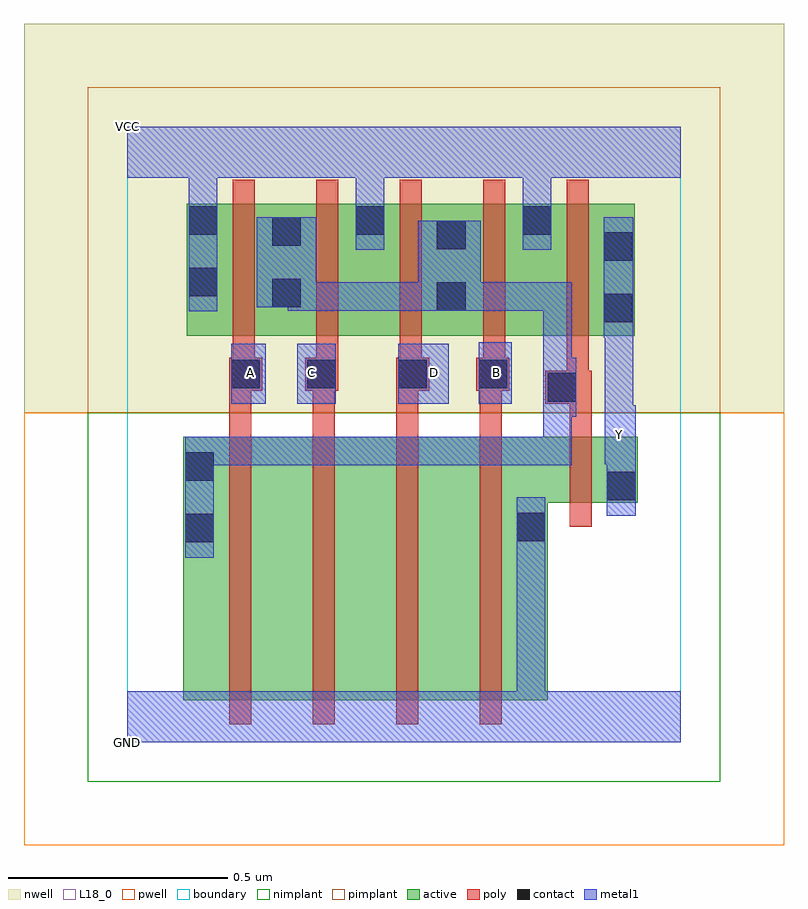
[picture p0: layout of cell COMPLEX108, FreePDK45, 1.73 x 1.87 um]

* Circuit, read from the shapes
.subckt COMPLEX108 A B C D GND VCC Y
M1 n1 A n2 VSUBS nfet w=0.6u l=0.05u
M2 n3 C n1 VSUBS nfet w=0.6u l=0.05u
M3 n4 D n3 VSUBS nfet w=0.6u l=0.05u
M4 GND B n4 VSUBS nfet w=0.6u l=0.05u
M5 Y n2 GND VSUBS nfet w=0.15u l=0.05u
M6 n2 A VCC n5 pfet w=0.3u l=0.05u
M7 VCC C n2 n5 pfet w=0.3u l=0.05u
M8 n2 D VCC n5 pfet w=0.3u l=0.05u
M9 VCC B n2 n5 pfet w=0.3u l=0.05u
M10 Y n2 VCC n5 pfet w=0.3u l=0.05u
.ends

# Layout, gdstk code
import gdstk
lib = gdstk.Library(unit=1e-6, precision=1e-09)
def R(c, l, rs):  # rectangles x0, y0, x1, y1
    for r in rs: c.add(gdstk.rectangle(r[:2], r[2:], *l))
def A(c, l, x, y, w, h, nx, ny, dx, dy):  # array of equal rectangles
    R(c, l, [(x+i*dx, y+j*dy, x+i*dx+w, y+j*dy+h) for i in range(nx) for j in range(ny)])
active = (1, 0)
pwell = (2, 0)
nwell = (3, 0)
nimplant = (4, 0)
pimplant = (5, 0)
poly = (9, 0)
contact = (10, 0)
metal1 = (11, 0)
L18_0 = (18, 0)
boundary = (235, 0)

complex108 = lib.new_cell('COMPLEX108')
R(complex108, active, [(0.127,0.095,0.352,0.695), (0.127,0.095,0.232,0.695), (0.352,0.095,0.542,0.695), (0.542,0.095,0.732,0.695), (0.732,0.095,0.957,0.695), (0.882,0.095,0.957,0.582), (0.882,0.545,1.162,0.695), (1.087,0.545,1.162,0.695), (0.135,0.925,0.4,1.225), (0.135,0.925,0.21,1.225), (0.325,0.925,0.59,1.225), (0.515,0.925,0.775,1.225), (0.7,0.925,0.775,1.2), (0.7,0.925,0.97,1.225), (0.895,0.925,1.155,1.225), (1.08,0.925,1.155,1.2), (0.325,0.985,0.4,1.2), (0.515,1.002,0.59,1.225), (0.895,1.002,0.97,1.225)])
R(complex108, pwell, [(-0.235,-0.235,1.495,0.75)])
R(complex108, nwell, [(-0.235,0.75,1.495,1.635)])
R(complex108, nimplant, [(-0.09,-0.09,1.35,0.75)])
R(complex108, pimplant, [(-0.09,0.75,1.35,1.49)])
A(complex108, poly, 0.232, 0.04, 0.05, 0.71, 4, 1, 0.19, 0)
A(complex108, poly, 0.232, 0.7, 0.05, 0.15, 4, 1, 0.19, 0)
A(complex108, poly, 0.24, 0.825, 0.05, 0.095, 4, 1, 0.19, 0)
A(complex108, poly, 0.24, 0.87, 0.05, 0.41, 5, 1, 0.19, 0)
R(complex108, poly, [(1.007,0.49,1.057,0.75), (1.007,0.7,1.057,0.82), (0.952,0.77,1.057,0.845), (1,0.795,1.05,0.92), (0.232,0.8,0.307,0.875), (0.405,0.8,0.48,0.875), (0.612,0.8,0.687,0.875), (0.795,0.8,0.87,0.875)])
A(complex108, contact, 0.14, 1.155, 0.065, 0.065, 3, 1, 0.38, 0)
R(complex108, contact, [(0.132,0.455,0.197,0.52), (0.887,0.457,0.952,0.522), (1.092,0.55,1.157,0.615), (0.132,0.595,0.197,0.66), (0.957,0.775,1.022,0.84), (0.237,0.805,0.302,0.87), (0.41,0.805,0.475,0.87), (0.617,0.805,0.682,0.87), (0.8,0.805,0.865,0.87), (1.085,0.955,1.15,1.02), (0.705,0.982,0.77,1.047), (0.33,0.99,0.395,1.055), (0.14,1.015,0.205,1.08), (1.085,1.095,1.15,1.16), (0.705,1.122,0.77,1.187), (0.33,1.13,0.395,1.195)])
A(complex108, metal1, 0.14, 1.19, 0.065, 0.16, 3, 1, 0.38, 0)
R(complex108, metal1, [(0,0,1.26,0.115), (0.887,0.05,0.952,0.487), (0.132,0.42,0.197,0.695), (0.887,0.422,0.952,0.557), (1.092,0.515,1.157,0.65), (1.092,0.585,1.157,0.697), (0.132,0.63,0.197,0.695), (0.132,0.63,0.197,0.695), (0.132,0.63,0.447,0.695), (0.382,0.63,0.447,0.695), (0.382,0.63,0.447,0.695), (0.382,0.63,0.447,0.695), (0.382,0.63,0.59,0.695), (0.525,0.63,0.59,0.695), (0.525,0.63,0.59,0.695), (0.525,0.63,0.59,0.695), (0.525,0.63,0.815,0.695), (0.75,0.63,0.815,0.695), (0.75,0.63,0.865,0.695), (0.8,0.63,0.865,0.695), (0.8,0.63,1.012,0.695), (0.947,0.63,1.012,0.695), (0.947,0.63,1.012,0.875), (1.087,0.632,1.157,0.767), (1.087,0.702,1.152,0.985), (0.957,0.74,1.022,0.875), (0.237,0.77,0.315,0.907), (0.387,0.77,0.475,0.907), (0.617,0.77,0.732,0.907), (0.8,0.77,0.875,0.91), (0.947,0.81,1.022,0.875), (0.947,0.81,1.012,0.875), (0.947,0.81,1.012,1.047), (1.085,0.92,1.152,1.195), (0.14,0.98,0.205,1.255), (0.365,0.982,0.59,1.047), (0.365,0.982,0.43,1.055), (0.525,0.982,0.59,1.047), (0.525,0.982,0.727,1.047), (0.662,0.982,0.727,1.047), (0.662,0.982,0.727,1.047), (0.662,0.982,0.805,1.187), (0.74,0.982,0.885,1.047), (0.82,0.982,0.885,1.047), (0.82,0.982,1.012,1.047), (0.947,0.982,1.012,1.047), (0.295,0.99,0.43,1.195), (0.365,0.99,0.43,1.055), (0.52,1.12,0.585,1.255), (0.9,1.12,0.965,1.255), (0.14,1.19,0.205,1.255), (0.14,1.19,0.205,1.255), (0.9,1.19,0.965,1.255), (0.9,1.19,0.965,1.255), (0,1.285,1.26,1.4), (0.52,1.285,0.585,1.35), (0.52,1.285,0.585,1.35)])
A(complex108, L18_0, 0.14, 1.19, 0.065, 0.16, 3, 1, 0.38, 0)
R(complex108, L18_0, [(0,0,1.26,0.115), (0.887,0.05,0.952,0.487), (0.887,0.422,0.952,0.557), (1.092,0.515,1.157,0.65), (1.092,0.585,1.157,0.697), (1.087,0.632,1.157,0.767), (1.087,0.667,1.152,0.732), (1.087,0.702,1.152,0.985), (0.237,0.77,0.315,0.907), (0.387,0.77,0.475,0.907), (0.617,0.77,0.732,0.907), (0.8,0.77,0.875,0.91), (0.247,0.807,0.312,0.872), (0.387,0.807,0.452,0.872), (0.667,0.807,0.732,0.872), (0.807,0.807,0.872,0.872), (1.085,0.92,1.152,1.195), (0.14,0.98,0.205,1.255), (0.52,1.12,0.585,1.255), (0.9,1.12,0.965,1.255), (0.14,1.19,0.205,1.255), (0.14,1.19,0.205,1.255), (0.9,1.19,0.965,1.255), (0.9,1.19,0.965,1.255), (0,1.285,1.26,1.4), (0.52,1.285,0.585,1.35), (0.52,1.285,0.585,1.35)])
R(complex108, boundary, [(0,0,1.26,1.4)])
complex108.add(gdstk.Label('A', (0.28,0.84), layer=11, texttype=0))
complex108.add(gdstk.Label('B', (0.84,0.84), layer=11, texttype=0))
complex108.add(gdstk.Label('C', (0.42,0.84), layer=11, texttype=0))
complex108.add(gdstk.Label('D', (0.7,0.84), layer=11, texttype=0))
complex108.add(gdstk.Label('Y', (1.12,0.7), layer=11, texttype=0))
complex108.add(gdstk.Label('VCC', (0,1.4), layer=11, texttype=0))
complex108.add(gdstk.Label('GND', (0,0), layer=11, texttype=0))

lib.write_gds('COMPLEX108.gds')
